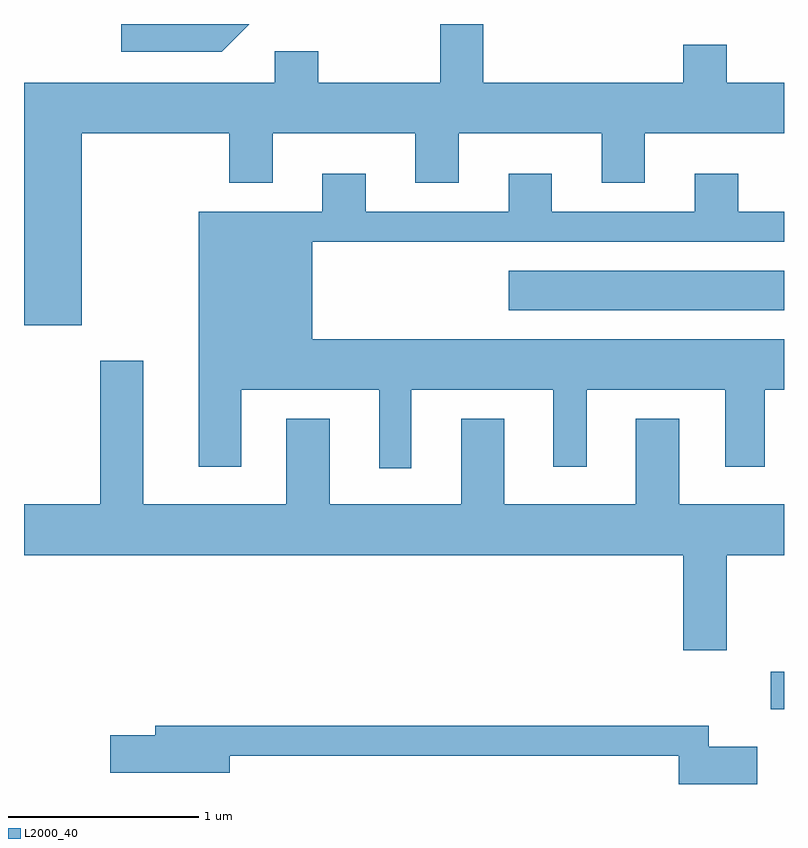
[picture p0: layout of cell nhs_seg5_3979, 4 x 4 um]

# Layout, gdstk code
import gdstk
lib = gdstk.Library(unit=1e-6, precision=1e-09)
def R(c, l, rs):  # rectangles x0, y0, x1, y1
    for r in rs: c.add(gdstk.rectangle(r[:2], r[2:], *l))
def P(c, l, *ps):  # polygons
    for p in ps: c.add(gdstk.Polygon(p, *l))
L2000_40 = (2000, 40)

nhs_seg5_3979 = lib.new_cell('nhs_seg5_3979')
R(nhs_seg5_3979, L2000_40, [(307.541,1420.466,307.611,1420.664), (306.161,1422.566,307.611,1422.774)])
P(nhs_seg5_3979, L2000_40, [(304.797,1424.072),(304.123,1424.072),(304.123,1423.926),(304.652,1423.926)],
  [(303.914,1423.496),(304.691,1423.496),(304.691,1423.236),(304.919,1423.236),(304.919,1423.496),(305.671,1423.496),(305.671,1423.236),(305.899,1423.236),(305.899,1423.496),(306.651,1423.496),(306.651,1423.236),(306.879,1423.236),(306.879,1423.496),(307.611,1423.496),(307.611,1423.764),(307.309,1423.764),(307.309,1423.964),(307.081,1423.964),(307.081,1423.764),(306.029,1423.764),(306.029,1424.072),(305.801,1424.072),(305.801,1423.764),(305.159,1423.764),(305.159,1423.929),(304.931,1423.929),(304.931,1423.764),(303.611,1423.764),(303.611,1422.486),(303.914,1422.486)],
  [(305.649,1422.146),(306.396,1422.146),(306.396,1421.741),(306.574,1421.741),(306.574,1422.146),(307.301,1422.146),(307.301,1421.741),(307.509,1421.741),(307.509,1422.146),(307.611,1422.146),(307.611,1422.414),(305.129,1422.414),(305.129,1422.926),(307.611,1422.926),(307.611,1423.084),(307.369,1423.084),(307.369,1423.284),(307.141,1423.284),(307.141,1423.084),(306.389,1423.084),(306.389,1423.284),(306.161,1423.284),(306.161,1423.084),(305.409,1423.084),(305.409,1423.284),(305.181,1423.284),(305.181,1423.084),(304.531,1423.084),(304.531,1421.741),(304.754,1421.741),(304.754,1422.146),(305.481,1422.146),(305.481,1421.733),(305.649,1421.733)],
  [(307.309,1421.276),(307.611,1421.276),(307.611,1421.544),(307.059,1421.544),(307.059,1421.994),(306.831,1421.994),(306.831,1421.544),(306.139,1421.544),(306.139,1421.994),(305.911,1421.994),(305.911,1421.544),(305.219,1421.544),(305.219,1421.994),(304.991,1421.994),(304.991,1421.544),(304.239,1421.544),(304.239,1422.299),(304.011,1422.299),(304.011,1421.544),(303.611,1421.544),(303.611,1421.276),(307.081,1421.276),(307.081,1420.776),(307.309,1420.776)],
  [(307.469,1420.269),(307.214,1420.269),(307.214,1420.379),(304.301,1420.379),(304.301,1420.329),(304.066,1420.329),(304.066,1420.131),(304.694,1420.131),(304.694,1420.221),(307.056,1420.221),(307.056,1420.072),(307.469,1420.072)])

lib.write_gds('nhs_seg5_3979.gds')
